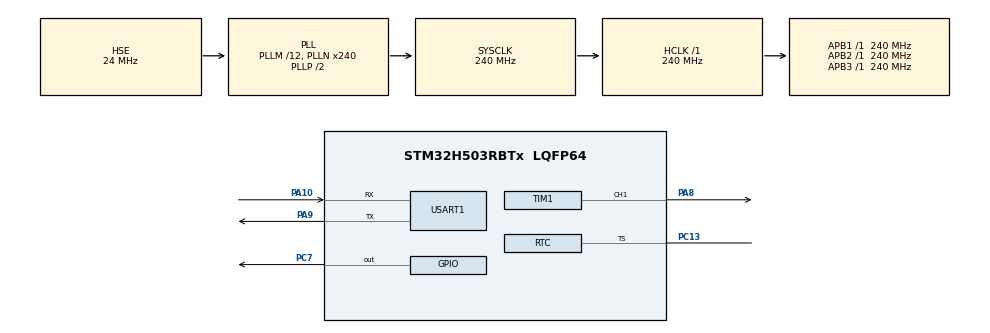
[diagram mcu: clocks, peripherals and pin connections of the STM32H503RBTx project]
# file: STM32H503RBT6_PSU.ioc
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BOOTPATH.BootPathName=LEGACY
BOOTPATH.UserSelectedBootPath=LEGACY
Mcu.Family=STM32H5
Mcu.Name=STM32H503RBTx
Mcu.Package=LQFP64
NVIC.PriorityGroup=NVIC_PRIORITYGROUP_4
NVIC.RTC_IRQn=true\:0\:0\:false\:false\:true\:true\:true\:true
PA10.Mode=Asynchronous
PA10.Signal=USART1_RX
PA5.Signal=S_TIM2_CH1
PA8.Signal=S_TIM1_CH1
PA9.Mode=Asynchronous
PA9.Signal=USART1_TX
PC13.Mode=Timestamp enabled
PC13.Signal=RTC_TS
PC7.Signal=GPIO_Output
PH0-OSC_IN(PH0).Mode=HSE-External-Oscillator
PH0-OSC_IN(PH0).Signal=RCC_OSC_IN
PH1-OSC_OUT(PH1).Mode=HSE-External-Oscillator
PH1-OSC_OUT(PH1).Signal=RCC_OSC_OUT
ProjectManager.HeapSize=0x200
ProjectManager.StackSize=0x400
ProjectManager.TargetToolchain=STM32CubeIDE
RCC.ADCFreq_Value=240000000
RCC.AHBFreq_Value=240000000
RCC.APB1Freq_Value=240000000
RCC.APB1TimFreq_Value=240000000
RCC.APB2Freq_Value=240000000
RCC.APB2TimFreq_Value=240000000
RCC.APB3Freq_Value=240000000
RCC.CSI_VALUE=4000000
RCC.CortexFreq_Value=240000000
RCC.EPOD_VALUE=24000000
RCC.HCLKFreq_Value=240000000
RCC.HSE_VALUE=24000000
RCC.HSI48_VALUE=48000000
RCC.HSI_VALUE=64000000
RCC.LSE_VALUE=32768
RCC.LSIRC_VALUE=32000
RCC.PLLM=12
RCC.PLLN=240
RCC.PLLSourceVirtual=RCC_PLL1_SOURCE_HSE
RCC.SYSCLKFreq_VALUE=240000000
RCC.SYSCLKSource=RCC_SYSCLKSOURCE_PLLCLK
RCC.USBFreq_Value=48000000
RCC.VCOOutputFreq_Value=480000000
RTC.Date=28
RTC.Month=RTC_MONTH_NOVEMBER
RTC.WeekDay=RTC_WEEKDAY_THURSDAY
RTC.Year=24
SH.S_TIM1_CH1.0=TIM1_CH1,PWM Generation1 CH1
SH.S_TIM2_CH1.0=TIM2_CH1
TIM1.Channel-PWM\ Generation1\ CH1=TIM_CHANNEL_1
TIM1.PeriodNoDither=124
TIM1.Prescaler=0
TIM1.PulseNoDither_1=60
TIM2.Prescaler=72-1
USART1.VirtualMode-Asynchronous=VM_ASYNC
VP_BOOTPATH_VS_BOOTPATH.Mode=BP_Activate
VP_CORTEX_M33_NS_VS_Hclk.Mode=Hclk_Mode
VP_ICACHE_VS_ICACHE.Mode=DefaultMode
VP_MEMORYMAP_VS_MEMORYMAP.Mode=CurAppReg
VP_PWR_VS_DBSignals.Mode=DisableDeadBatterySignals
VP_PWR_VS_LPOM.Mode=PowerOptimisation
VP_PWR_VS_SECSignals.Mode=Security/Privilege
VP_RTC_VS_RTC_Activate.Mode=RTC_Enabled
VP_RTC_VS_RTC_Calendar.Mode=RTC_Calendar
VP_TIM1_VS_ClockSourceINT.Mode=Internal
VP_TIM2_VS_ClockSourceINT.Mode=Internal
board=custom

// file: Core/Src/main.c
/* USER CODE BEGIN Header */
/**
 ******************************************************************************
 * @file           : main.c
 * @brief          : Main program body
 ******************************************************************************
 * @attention
 *
 * Copyright (c) 2024 STMicroelectronics.
 * All rights reserved.
 *
 * This software is licensed under terms that can be found in the LICENSE file
 * in the root directory of this software component.
 * If no LICENSE file comes with this software, it is provided AS-IS.
 *
 ******************************************************************************
 */
/* USER CODE END Header */
#include "main.h"

/* USER CODE BEGIN Includes */
#include "stdio.h"
#include <string.h>
#include <DS18B20.h>

/* USER CODE END Includes */

/* USER CODE BEGIN PD */
RTC_TimeTypeDef sTime = {0};
RTC_DateTypeDef sDate = {0};

char buffer[64]; // Buffer untuk mencetak waktu
/* USER CODE END PD */

RTC_HandleTypeDef hrtc;

TIM_HandleTypeDef htim1;
TIM_HandleTypeDef htim2;

UART_HandleTypeDef huart1;

void SystemClock_Config(void);
static void MX_GPIO_Init(void);
static void MX_USART1_UART_Init(void);
static void MX_TIM2_Init(void);
static void MX_TIM1_Init(void);
static void MX_RTC_Init(void);
static void MX_ICACHE_Init(void);

/* USER CODE BEGIN 0 */
void __io_putchar(char ch) {
	HAL_UART_Transmit(&huart1, (uint8_t *)&ch, 1, 10);
}

/* USER CODE END 0 */

int main(void)
{

  /* MCU Configuration--------------------------------------------------------*/

  /* Reset of all peripherals, Initializes the Flash interface and the Systick. */
  HAL_Init();

  /* Configure the system clock */
  SystemClock_Config();

  /* Initialize all configured peripherals */
  MX_GPIO_Init();
  MX_USART1_UART_Init();
  MX_TIM2_Init();
  MX_TIM1_Init();
  MX_RTC_Init();
  MX_ICACHE_Init();
  /* USER CODE BEGIN 2 */
	HAL_TIM_Base_Start(&htim2);

  /* USER CODE END 2 */

  /* Infinite loop */
  /* USER CODE BEGIN WHILE */
	while (1)
	{
// untuk baca temperature
				float temperature = DS18B20_GetTemp();

				char buffer[20];
				int length = sprintf(buffer, "Temp: %.1f C\n", temperature);

				// Transmit the formatted string over UART
				HAL_UART_Transmit(&huart1, (uint8_t*)buffer, length, HAL_MAX_DELAY);

				if (temperature >= 31.0) {
					// Turn on the buzzer
					//			HAL_GPIO_WritePin(GPIOC, GPIO_PIN_13, GPIO_PIN_SET);
					HAL_GPIO_TogglePin (GPIOC, GPIO_PIN_7);

					HAL_Delay(300);  // Delay for 50 ms
					HAL_TIM_PWM_Start(&htim1, TIM_CHANNEL_1);

				} else {
					// Turn off the buzzer
					HAL_GPIO_WritePin(GPIOC, GPIO_PIN_7, GPIO_PIN_SET);
					HAL_TIM_PWM_Stop(&htim1, TIM_CHANNEL_1);

				}

		//		untuk baca RTC

		// Get current time
		HAL_RTC_GetTime(&hrtc, &sTime, RTC_FORMAT_BIN);
		// Get current date
		HAL_RTC_GetDate(&hrtc, &sDate, RTC_FORMAT_BIN);

		// Print time and date

		 snprintf(buffer, sizeof(buffer), "Time: %02d:%02d:%02d Date: %02d-%02d-%04d\r\n",
		                 sTime.Hours, sTime.Minutes, sTime.Seconds,
		                 sDate.Date, sDate.Month, 2000 + sDate.Year);
		 HAL_UART_Transmit(&huart1, (uint8_t *)buffer, strlen(buffer), HAL_MAX_DELAY);

		// Delay for 1 second
		HAL_Delay(1000);
    /* USER CODE END WHILE */

	}
}

void SystemClock_Config(void)
{
  RCC_OscInitTypeDef RCC_OscInitStruct = {0};
  RCC_ClkInitTypeDef RCC_ClkInitStruct = {0};

  /** Configure the main internal regulator output voltage
  */
  __HAL_PWR_VOLTAGESCALING_CONFIG(PWR_REGULATOR_VOLTAGE_SCALE0);

  while(!__HAL_PWR_GET_FLAG(PWR_FLAG_VOSRDY)) {}

  /** Initializes the RCC Oscillators according to the specified parameters
  * in the RCC_OscInitTypeDef structure.
  */
  RCC_OscInitStruct.OscillatorType = RCC_OSCILLATORTYPE_LSI|RCC_OSCILLATORTYPE_HSE;
  RCC_OscInitStruct.HSEState = RCC_HSE_ON;
  RCC_OscInitStruct.LSIState = RCC_LSI_ON;
  RCC_OscInitStruct.PLL.PLLState = RCC_PLL_ON;
  RCC_OscInitStruct.PLL.PLLSource = RCC_PLL1_SOURCE_HSE;
  RCC_OscInitStruct.PLL.PLLM = 12;
  RCC_OscInitStruct.PLL.PLLN = 240;
  RCC_OscInitStruct.PLL.PLLP = 2;
  RCC_OscInitStruct.PLL.PLLQ = 2;
  RCC_OscInitStruct.PLL.PLLR = 2;
  RCC_OscInitStruct.PLL.PLLRGE = RCC_PLL1_VCIRANGE_1;
  RCC_OscInitStruct.PLL.PLLVCOSEL = RCC_PLL1_VCORANGE_WIDE;
  RCC_OscInitStruct.PLL.PLLFRACN = 0;
  if (HAL_RCC_OscConfig(&RCC_OscInitStruct) != HAL_OK)
  {
    Error_Handler();
  }

  /** Initializes the CPU, AHB and APB buses clocks
  */
  RCC_ClkInitStruct.ClockType = RCC_CLOCKTYPE_HCLK|RCC_CLOCKTYPE_SYSCLK
                              |RCC_CLOCKTYPE_PCLK1|RCC_CLOCKTYPE_PCLK2
                              |RCC_CLOCKTYPE_PCLK3;
  RCC_ClkInitStruct.SYSCLKSource = RCC_SYSCLKSOURCE_PLLCLK;
  RCC_ClkInitStruct.AHBCLKDivider = RCC_SYSCLK_DIV1;
  RCC_ClkInitStruct.APB1CLKDivider = RCC_HCLK_DIV1;
  RCC_ClkInitStruct.APB2CLKDivider = RCC_HCLK_DIV1;
  RCC_ClkInitStruct.APB3CLKDivider = RCC_HCLK_DIV1;

  if (HAL_RCC_ClockConfig(&RCC_ClkInitStruct, FLASH_LATENCY_5) != HAL_OK)
  {
    Error_Handler();
  }

  /** Configure the programming delay
  */
  __HAL_FLASH_SET_PROGRAM_DELAY(FLASH_PROGRAMMING_DELAY_2);
}

static void MX_ICACHE_Init(void)
{

  /** Enable instruction cache (default 2-ways set associative cache)
  */
  if (HAL_ICACHE_Enable() != HAL_OK)
  {
    Error_Handler();
  }

}

static void MX_RTC_Init(void)
{

  RTC_PrivilegeStateTypeDef privilegeState = {0};
  RTC_TimeTypeDef sTime = {0};
  RTC_DateTypeDef sDate = {0};

  /** Initialize RTC Only
  */
  hrtc.Instance = RTC;
  hrtc.Init.HourFormat = RTC_HOURFORMAT_24;
  hrtc.Init.AsynchPrediv = 127;
  hrtc.Init.SynchPrediv = 255;
  hrtc.Init.OutPut = RTC_OUTPUT_DISABLE;
  hrtc.Init.OutPutRemap = RTC_OUTPUT_REMAP_NONE;
  hrtc.Init.OutPutPolarity = RTC_OUTPUT_POLARITY_HIGH;
  hrtc.Init.OutPutType = RTC_OUTPUT_TYPE_OPENDRAIN;
  hrtc.Init.OutPutPullUp = RTC_OUTPUT_PULLUP_NONE;
  hrtc.Init.BinMode = RTC_BINARY_NONE;
  if (HAL_RTC_Init(&hrtc) != HAL_OK)
  {
    Error_Handler();
  }
  privilegeState.rtcPrivilegeFull = RTC_PRIVILEGE_FULL_NO;
  privilegeState.backupRegisterPrivZone = RTC_PRIVILEGE_BKUP_ZONE_NONE;
  privilegeState.backupRegisterStartZone2 = RTC_BKP_DR0;
  privilegeState.backupRegisterStartZone3 = RTC_BKP_DR0;
  if (HAL_RTCEx_PrivilegeModeSet(&hrtc, &privilegeState) != HAL_OK)
  {
    Error_Handler();
  }

  /** Initialize RTC and set the Time and Date
  */
  sTime.Hours = 0x0;
  sTime.Minutes = 0x0;
  sTime.Seconds = 0x0;
  sTime.DayLightSaving = RTC_DAYLIGHTSAVING_NONE;
  sTime.StoreOperation = RTC_STOREOPERATION_RESET;
  if (HAL_RTC_SetTime(&hrtc, &sTime, RTC_FORMAT_BCD) != HAL_OK)
  {
    Error_Handler();
  }
  sDate.WeekDay = RTC_WEEKDAY_THURSDAY;
  sDate.Month = RTC_MONTH_NOVEMBER;
  sDate.Date = 0x28;
  sDate.Year = 0x24;
  if (HAL_RTC_SetDate(&hrtc, &sDate, RTC_FORMAT_BCD) != HAL_OK)
  {
    Error_Handler();
  }

  /** Enable the TimeStamp
  */
  if (HAL_RTCEx_SetTimeStamp_IT(&hrtc, RTC_TIMESTAMPEDGE_RISING, RTC_TIMESTAMPPIN_DEFAULT) != HAL_OK)
  {
    Error_Handler();
  }

}

static void MX_TIM1_Init(void)
{

  TIM_ClockConfigTypeDef sClockSourceConfig = {0};
  TIM_MasterConfigTypeDef sMasterConfig = {0};
  TIM_OC_InitTypeDef sConfigOC = {0};
  TIM_BreakDeadTimeConfigTypeDef sBreakDeadTimeConfig = {0};

  htim1.Instance = TIM1;
  htim1.Init.Prescaler = 0;
  htim1.Init.CounterMode = TIM_COUNTERMODE_UP;
  htim1.Init.Period = 124;
  htim1.Init.ClockDivision = TIM_CLOCKDIVISION_DIV1;
  htim1.Init.RepetitionCounter = 0;
  htim1.Init.AutoReloadPreload = TIM_AUTORELOAD_PRELOAD_DISABLE;
  if (HAL_TIM_Base_Init(&htim1) != HAL_OK)
  {
    Error_Handler();
  }
  sClockSourceConfig.ClockSource = TIM_CLOCKSOURCE_INTERNAL;
  if (HAL_TIM_ConfigClockSource(&htim1, &sClockSourceConfig) != HAL_OK)
  {
    Error_Handler();
  }
  if (HAL_TIM_PWM_Init(&htim1) != HAL_OK)
  {
    Error_Handler();
  }
  sMasterConfig.MasterOutputTrigger = TIM_TRGO_RESET;
  sMasterConfig.MasterOutputTrigger2 = TIM_TRGO2_RESET;
  sMasterConfig.MasterSlaveMode = TIM_MASTERSLAVEMODE_DISABLE;
  if (HAL_TIMEx_MasterConfigSynchronization(&htim1, &sMasterConfig) != HAL_OK)
  {
    Error_Handler();
  }
  sConfigOC.OCMode = TIM_OCMODE_PWM1;
  sConfigOC.Pulse = 60;
  sConfigOC.OCPolarity = TIM_OCPOLARITY_HIGH;
  sConfigOC.OCNPolarity = TIM_OCNPOLARITY_HIGH;
  sConfigOC.OCFastMode = TIM_OCFAST_DISABLE;
  sConfigOC.OCIdleState = TIM_OCIDLESTATE_RESET;
  sConfigOC.OCNIdleState = TIM_OCNIDLESTATE_RESET;
  if (HAL_TIM_PWM_ConfigChannel(&htim1, &sConfigOC, TIM_CHANNEL_1) != HAL_OK)
  {
    Error_Handler();
  }
  sBreakDeadTimeConfig.OffStateRunMode = TIM_OSSR_DISABLE;
  sBreakDeadTimeConfig.OffStateIDLEMode = TIM_OSSI_DISABLE;
  sBreakDeadTimeConfig.LockLevel = TIM_LOCKLEVEL_OFF;
  sBreakDeadTimeConfig.DeadTime = 0;
  sBreakDeadTimeConfig.BreakState = TIM_BREAK_DISABLE;
  sBreakDeadTimeConfig.BreakPolarity = TIM_BREAKPOLARITY_HIGH;
  sBreakDeadTimeConfig.BreakFilter = 0;
  sBreakDeadTimeConfig.BreakAFMode = TIM_BREAK_AFMODE_INPUT;
  sBreakDeadTimeConfig.Break2State = TIM_BREAK2_DISABLE;
  sBreakDeadTimeConfig.Break2Polarity = TIM_BREAK2POLARITY_HIGH;
  sBreakDeadTimeConfig.Break2Filter = 0;
  sBreakDeadTimeConfig.Break2AFMode = TIM_BREAK_AFMODE_INPUT;
  sBreakDeadTimeConfig.AutomaticOutput = TIM_AUTOMATICOUTPUT_DISABLE;
  if (HAL_TIMEx_ConfigBreakDeadTime(&htim1, &sBreakDeadTimeConfig) != HAL_OK)
  {
    Error_Handler();
  }
  HAL_TIM_MspPostInit(&htim1);

}

static void MX_TIM2_Init(void)
{

  TIM_ClockConfigTypeDef sClockSourceConfig = {0};
  TIM_MasterConfigTypeDef sMasterConfig = {0};

  htim2.Instance = TIM2;
  htim2.Init.Prescaler = 72-1;
  htim2.Init.CounterMode = TIM_COUNTERMODE_UP;
  htim2.Init.Period = 4294967295;
  htim2.Init.ClockDivision = TIM_CLOCKDIVISION_DIV1;
  htim2.Init.AutoReloadPreload = TIM_AUTORELOAD_PRELOAD_DISABLE;
  if (HAL_TIM_Base_Init(&htim2) != HAL_OK)
  {
    Error_Handler();
  }
  sClockSourceConfig.ClockSource = TIM_CLOCKSOURCE_INTERNAL;
  if (HAL_TIM_ConfigClockSource(&htim2, &sClockSourceConfig) != HAL_OK)
  {
    Error_Handler();
  }
  sMasterConfig.MasterOutputTrigger = TIM_TRGO_RESET;
  sMasterConfig.MasterSlaveMode = TIM_MASTERSLAVEMODE_DISABLE;
  if (HAL_TIMEx_MasterConfigSynchronization(&htim2, &sMasterConfig) != HAL_OK)
  {
    Error_Handler();
  }

}

static void MX_USART1_UART_Init(void)
{

  huart1.Instance = USART1;
  huart1.Init.BaudRate = 115200;
  huart1.Init.WordLength = UART_WORDLENGTH_8B;
  huart1.Init.StopBits = UART_STOPBITS_1;
  huart1.Init.Parity = UART_PARITY_NONE;
  huart1.Init.Mode = UART_MODE_TX_RX;
  huart1.Init.HwFlowCtl = UART_HWCONTROL_NONE;
  huart1.Init.OverSampling = UART_OVERSAMPLING_16;
  huart1.Init.OneBitSampling = UART_ONE_BIT_SAMPLE_DISABLE;
  huart1.Init.ClockPrescaler = UART_PRESCALER_DIV1;
  huart1.AdvancedInit.AdvFeatureInit = UART_ADVFEATURE_NO_INIT;
  if (HAL_UART_Init(&huart1) != HAL_OK)
  {
    Error_Handler();
  }
  if (HAL_UARTEx_SetTxFifoThreshold(&huart1, UART_TXFIFO_THRESHOLD_1_8) != HAL_OK)
  {
    Error_Handler();
  }
  if (HAL_UARTEx_SetRxFifoThreshold(&huart1, UART_RXFIFO_THRESHOLD_1_8) != HAL_OK)
  {
    Error_Handler();
  }
  if (HAL_UARTEx_DisableFifoMode(&huart1) != HAL_OK)
  {
    Error_Handler();
  }

}

static void MX_GPIO_Init(void)
{
  GPIO_InitTypeDef GPIO_InitStruct = {0};

  /* GPIO Ports Clock Enable */
  __HAL_RCC_GPIOC_CLK_ENABLE();
  __HAL_RCC_GPIOH_CLK_ENABLE();
  __HAL_RCC_GPIOA_CLK_ENABLE();

  /*Configure GPIO pin Output Level */
  HAL_GPIO_WritePin(GPIOC, GPIO_PIN_7, GPIO_PIN_RESET);

  /*Configure GPIO pin : PC7 */
  GPIO_InitStruct.Pin = GPIO_PIN_7;
  GPIO_InitStruct.Mode = GPIO_MODE_OUTPUT_PP;
  GPIO_InitStruct.Pull = GPIO_NOPULL;
  GPIO_InitStruct.Speed = GPIO_SPEED_FREQ_LOW;
  HAL_GPIO_Init(GPIOC, &GPIO_InitStruct);

}

void Error_Handler(void)
{
	__disable_irq();
	while (1)
	{
	}
}
